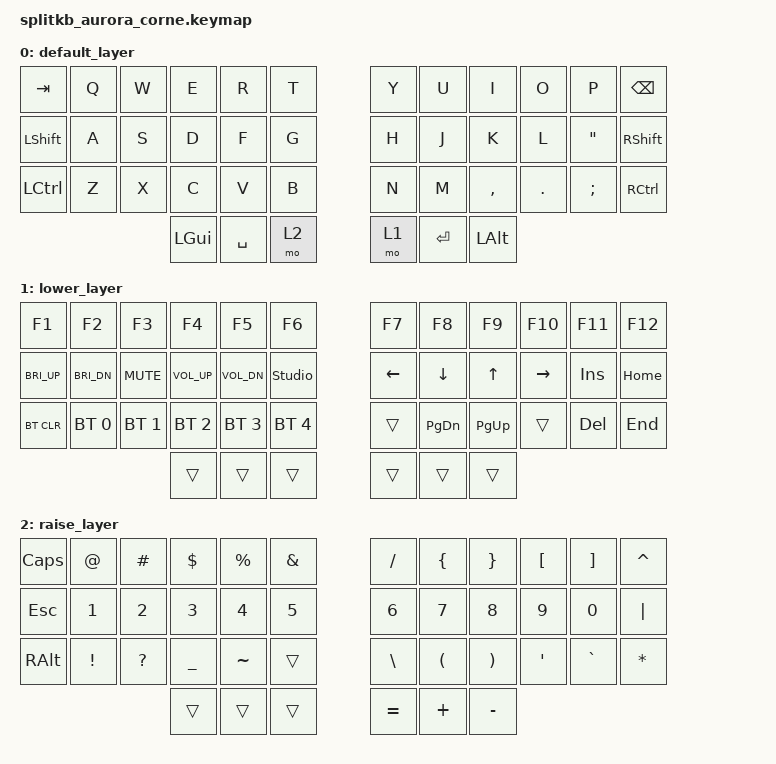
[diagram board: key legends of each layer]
#include <behaviors.dtsi>
#include <dt-bindings/zmk/keys.h>
#include <dt-bindings/zmk/bt.h>

/ {
    keymap {
        compatible = "zmk,keymap";
        default_layer {
			bindings = <
				// ┌─────────┬─────────┬─────────┬─────────┬─────────┬─────────┐    ┌─────────┬─────────┬─────────┬─────────┬─────────┬──────────┐
				// │   TAB   │    Q    │    W    │    E    │    R    │    T    │    │    Y    │    U    │    I    │    O    │    P    │   BSPC   │
    				&kp TAB   &kp Q     &kp W      &kp E     &kp R     &kp T         &kp Y     &kp U     &kp I     &kp O     &kp P    &kp BSPC
				// ├─────────┴─────────┴─────────┴─────────┴─────────┴─────────┤    ├─────────┴─────────┴─────────┴─────────┴─────────┴──────────┤
				// │  SHFT   │    A    │    S    │    D    │    F    │    G    │    │    H    │    J    │    K    │    L    │   "     │   SHFT   │
				    &kp LSHFT  &kp A     &kp S      &kp D     &kp F     &kp G          &kp H     &kp J     &kp K     &kp L    &kp DQT &kp RSHFT
				// ├─────────┴─────────┴─────────┴─────────┴─────────┴─────────┤    ├─────────┴─────────┴─────────┴─────────┴─────────┴──────────┤
				// │  CTRL   │    Z    │    X    │    C    │    V    │    B    │    │    N    │    M    │    ,    │    .    │   ;     │   CTRL   │
				    &kp LCTRL   &kp Z     &kp X     &kp C     &kp V     &kp B          &kp N     &kp M   &kp COMMA &kp DOT   &kp SEMI  &kp RCTRL
				// ├─────────┴─────────┴─────────┴─────────┴─────────┴─────────┤    ├─────────┴─────────┴─────────┴─────────┴─────────┴──────────┤
				//                               │   SUPER │   SPC   │   RSE   │    │   LWR   │   ENT   │   ALT   │
				                                  &kp LGUI  &kp SPACE   &mo 2          &mo 1    &kp RET   &kp LALT
				//                               └─────────┴─────────┴─────────┘    └─────────┴─────────┴─────────┘
        	>;
        };

		lower_layer {
			bindings = <
				// ┌─────────┬─────────┬─────────┬─────────┬─────────┬─────────┐    ┌─────────┬─────────┬─────────┬─────────┬─────────┬──────────┐
				// │    F1   │    F2   │    F3   │   F4    │    F5   │    F6   │    │    F7   │    F8   │    F9   │   F10   │   F11   │   F12    │
				    &kp F1     &kp F2    &kp F3    &kp F4    &kp F5    &kp F6        &kp F7    &kp F8    &kp F9    &kp F10    &kp F11    &kp F12
				// ├─────────┴─────────┴─────────┴─────────┴─────────┴─────────┤    ├─────────┴─────────┴─────────┴─────────┴─────────┴──────────┤
				// │  BRIUP  │  BRIDN  │  MUTE   │  VOLUP  │  VOLDN  │  STUDIO │    │  LEFT   │  DOWN   │   UP    │  RIGHT  │   INS   │   HOME   │
				 &kp C_BRI_UP &kp C_BRI_DN &kp C_MUTE &kp C_VOL_UP &kp C_VOL_DN &studio_unlock &kp LEFT &kp DOWN &kp UP &kp RIGHT &kp INS &kp HOME
				// ├─────────┴─────────┴─────────┴─────────┴─────────┴─────────┤    ├─────────┴─────────┴─────────┴─────────┴─────────┴──────────┤
				// │  BTCLR  │   BT1   │   BT2   │   BT3   │   BT4   │   BT5   │    │         │  PGDN   │   PGUP  │         │   DEL   │    END   │
				    &bt BT_CLR &bt BT_SEL 0 &bt BT_SEL 1 &bt BT_SEL 2 &bt BT_SEL 3 &bt BT_SEL 4 &trans &kp PG_DN &kp PG_UP &trans &kp DEL &kp END
				// └─────────┴─────────┴─────────┬─────────┬─────────┬─────────┘    └─────────┬─────────┬─────────┬─────────┴─────────┴──────────┘
				//                               │         │         │         │    │         │         │         │
				                                    &trans   &trans    &trans         &trans    &trans    &trans
				//                               └─────────┴─────────┴─────────┘    └─────────┴─────────┴─────────┘
			>;
        };

		raise_layer {
			bindings = <
				// ┌─────────┬─────────┬─────────┬─────────┬─────────┬─────────┐    ┌─────────┬─────────┬─────────┬─────────┬─────────┬──────────┐
				// │   CAPS  │   @     │   #     │   $     │   %     │   &     │    │    /    │    {    │    }    │   [     │   ]     │     ^    │
				    &kp CAPS   &kp AT   &kp HASH  &kp DLLR  &kp PRCNT  &kp AMPS       &kp FSLH  &kp LBRC &kp RBRC   &kp LBKT  &kp RBKT  &kp CARET
				// ├─────────┴─────────┴─────────┴─────────┴─────────┴─────────┤    ├─────────┴─────────┴─────────┴─────────┴─────────┴──────────┤
				// │   ESC   │    1    │    2    │    3    │    4    │   5     │    │   6     │   7     │   8     │   9     │   0     │     |    │
				    &kp ESC  &kp N1    &kp N2    &kp N3    &kp N4    &kp N5           &kp N6    &kp N7     &kp N8    &kp N9    &kp N0  &kp PIPE
				// ├─────────┴─────────┴─────────┴─────────┴─────────┴─────────┤    ├─────────┴─────────┴─────────┴─────────┴─────────┴──────────┤
				// │   ALTGR │    !    │    ?    │    _    │    ~    │         │    │    \    │   (     │   )     │   '     │   `     │     *    │
				    &kp RALT &kp EXCL &kp QMARK &kp UNDER   &kp TILDE    &trans        &kp BSLH  &kp LPAR   &kp RPAR  &kp APOS &kp GRAVE   &kp ASTRK
				// └─────────┴─────────┴─────────┬─────────┬─────────┬─────────┘    └─────────┬─────────┬─────────┬─────────┴─────────┴──────────┘
				//                               │         │         │         │    │    =    │   +     │   -     │
				                                  &trans     &trans    &trans         &kp EQUAL &kp PLUS &kp MINUS
				//                               └─────────┴─────────┴─────────┘    └─────────┴─────────┴─────────┘
            >;
        };
    };
};
